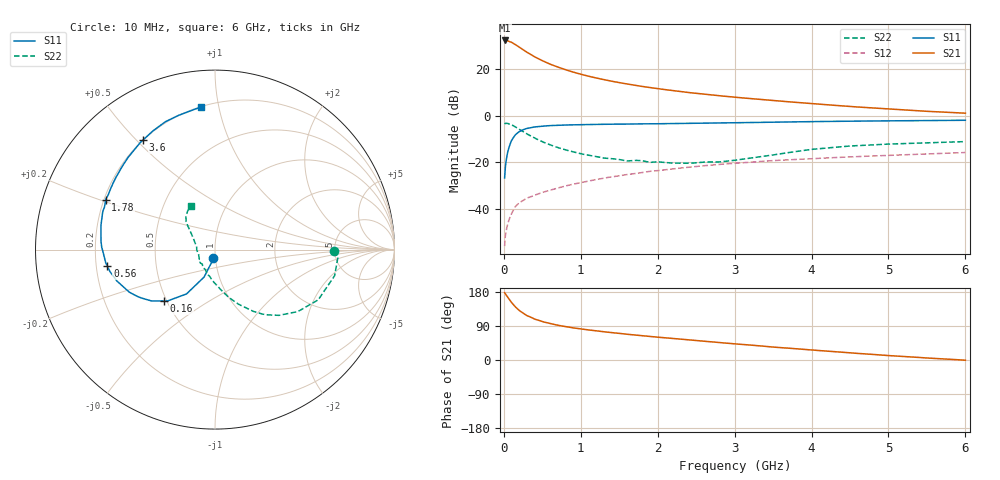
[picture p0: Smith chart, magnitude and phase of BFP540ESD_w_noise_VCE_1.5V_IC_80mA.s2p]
! Infineon Technologies  Discrete & RF Semiconductors
! BFP540ESD
! VCE =  1.5 V,  IC =  80 mA
! Common Emitter S-Parameters:  Nov 2015
# GHz  S  MA  R  50
!  f  S11  S21  S12  S22
! GHz  MAG  ANG  MAG  ANG  MAG  ANG  MAG  ANG
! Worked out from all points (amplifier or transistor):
!   210 points, 10 MHz to 6 GHz, reference 50 ohm
!   highest |S21| = 32.2 dB at 10 MHz (marker M1)
!   |S21| within 3 dB of that: start of sweep to 206.3 MHz
!   unconditionally stable (mu >= 1): start of sweep to 83.65 MHz; 647.3 MHz to end of sweep
!   at 185 MHz: K = 0.72, MSG = 33.7 dB, |S12| = -37.8 dB
!   at 1.52 GHz: K = 1.20, MAG = 17.1 dB, |S12| = -25.7 dB
!   at 6 GHz: K = 1.22, MAG = 5.6 dB, |S12| = -15.8 dB
!   lowest NFmin = 2.38 dB at 900 MHz
!   S11 on the Smith chart (normalised r, x): 10 MHz: 0.97, -0.09; 160 MHz: 0.48, -0.33; 560 MHz: 0.25, -0.07; 1.78 GHz: 0.21, +0.21; 3.6 GHz: 0.20, +0.52; 6 GHz: 0.20, +0.88
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0.01  0.0462 -105.1  40.87 177.6  0.0016 89.2  0.6613 -0.7
0.05  0.1647 -111.7  40.3 165.6  0.0048 76.1  0.6821 -12.3
0.1  0.2934 -122.7  37.35 151.6  0.0079 70.9  0.6399 -25.9
0.15  0.3903 -132.8  33.38 140.0  0.0113 65.1  0.5765 -36.8
0.16  0.4026 -134.7  32.53 138.3  0.0118 64.1  0.5624 -38.4
0.2  0.4553 -141.1  29.41 130.7  0.0136 60.6  0.511 -45.8
0.22  0.4726 -144.0  27.94 127.9  0.0142 60.4  0.4882 -48.4
0.26  0.5067 -149.2  25.24 122.1  0.0156 60.0  0.4457 -53.7
0.3  0.5326 -153.5  22.86 117.1  0.0171 59.5  0.4058 -58.1
0.4  0.5736 -162.2  18.26 107.9  0.0198 59.0  0.3304 -66.8
0.5  0.5984 -168.3  15.08 101.2  0.0227 59.0  0.2758 -74.1
0.56  0.6067 -171.2  13.65 98.3  0.0243 59.3  0.2523 -77.4
0.8  0.6311 178.9  9.64 88.0  0.0311 60.9  0.1851 -91.2
1.02  0.6408 172.3  7.575 81.5  0.0373 60.5  0.1504 -102.3
1.4  0.6569 163.2  5.482 72.2  0.0488 59.4  0.1207 -123.3
1.78  0.6688 155.6  4.276 64.6  0.0598 58.0  0.1088 -139.7
2.02  0.6716 150.8  3.75 59.9  0.067 55.9  0.102 -149.5
3.1  0.7089 131.6  2.406 41.1  0.098 47.0  0.1166 161.4
3.6  0.7299 123.5  2.045 32.7  0.1112 41.7  0.1528 147.5
4.1  0.7489 116.4  1.763 24.9  0.1222 36.8  0.1962 139.6
5.1  0.7765 104.2  1.361 10.5  0.1431 27.4  0.2494 129.9
6  0.7973 95.8  1.131 -0.6  0.1623 20.2  0.2784 119.2
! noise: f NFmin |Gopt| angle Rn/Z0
0.9  2.38  0.59  -140  0.21
1.8  2.6  0.62  -141  0.22
2.4  2.71  0.63  -130  0.32
3  2.93  0.66  -121  0.48
4  3.08  0.73  -101  0.98
5  3.38  0.79  -86  1.55
6  4.1  0.72  -81  2.55
